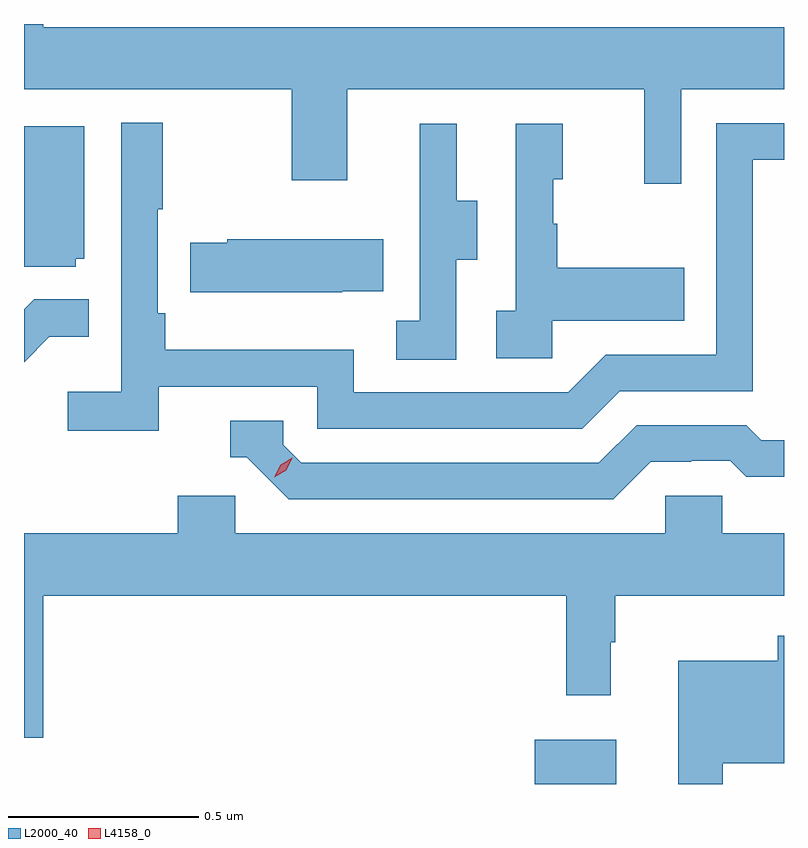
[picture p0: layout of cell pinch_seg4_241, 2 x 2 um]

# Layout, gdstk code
import gdstk
lib = gdstk.Library(unit=1e-6, precision=1e-09)
def R(c, l, rs):  # rectangles x0, y0, x1, y1
    for r in rs: c.add(gdstk.rectangle(r[:2], r[2:], *l))
def P(c, l, *ps):  # polygons
    for p in ps: c.add(gdstk.Polygon(p, *l))
L2000_40 = (2000, 40)
L4158_0 = (4158, 0)

pinch_seg4_241 = lib.new_cell('pinch_seg4_241')
R(pinch_seg4_241, L2000_40, [(921.71,817.636,921.925,817.753)])
P(pinch_seg4_241, L2000_40, [(922.095,819.464),(922.366,819.464),(922.366,819.628),(920.416,819.628),(920.416,819.636),(920.366,819.636),(920.366,819.464),(921.07,819.464),(921.07,819.225),(921.217,819.225),(921.217,819.464),(921.998,819.464),(921.998,819.216),(922.095,819.216)],
  [(920.72,818.682),(921.138,818.682),(921.138,818.571),(921.835,818.571),(921.934,818.67),(922.284,818.67),(922.284,819.279),(922.366,819.279),(922.366,819.375),(922.188,819.375),(922.188,818.766),(921.897,818.766),(921.798,818.667),(921.234,818.667),(921.234,818.779),(920.738,818.779),(920.738,818.875),(920.718,818.875),(920.718,819.148),(920.731,819.148),(920.731,819.376),(920.622,819.376),(920.622,818.668),(920.481,818.668),(920.481,818.566),(920.72,818.566)],
  [(921.504,819.016),(921.559,819.016),(921.559,819.171),(921.505,819.171),(921.505,819.373),(921.407,819.373),(921.407,819.159),(921.408,819.159),(921.408,818.855),(921.345,818.855),(921.345,818.752),(921.504,818.752)],
  [(921.756,818.855),(922.103,818.855),(922.103,818.995),(921.769,818.995),(921.769,819.11),(921.759,819.11),(921.759,819.228),(921.784,819.228),(921.784,819.373),(921.66,819.373),(921.66,818.882),(921.609,818.882),(921.609,818.757),(921.756,818.757)],
  [(920.502,819.018),(920.524,819.018),(920.524,819.367),(920.366,819.367),(920.366,818.997),(920.502,818.997)],
  [(921.203,818.933),(921.311,818.933),(921.311,819.07),(920.901,819.07),(920.901,819.06),(920.803,819.06),(920.803,818.93),(921.203,818.93)],
  [(920.433,818.813),(920.537,818.813),(920.537,818.912),(920.393,818.912),(920.366,818.885),(920.366,818.746)],
  [(922.015,818.484),(922.122,818.484),(922.122,818.487),(922.225,818.487),(922.267,818.445),(922.366,818.445),(922.366,818.541),(922.306,818.541),(922.267,818.58),(921.978,818.58),(921.879,818.481),(921.096,818.481),(921.048,818.529),(921.048,818.592),(920.909,818.592),(920.909,818.496),(920.952,818.496),(921.063,818.385),(921.916,818.385)],
  [(920.416,818.132),(921.793,818.132),(921.793,817.869),(921.91,817.869),(921.91,818.009),(921.922,818.009),(921.922,818.132),(922.366,818.132),(922.366,818.296),(922.203,818.296),(922.203,818.394),(922.053,818.394),(922.053,818.296),(920.922,818.296),(920.922,818.394),(920.771,818.394),(920.771,818.296),(920.366,818.296),(920.366,817.758),(920.416,817.758)],
  [(922.205,817.691),(922.366,817.691),(922.366,818.026),(922.35,818.026),(922.35,817.96),(922.088,817.96),(922.088,817.636),(922.205,817.636)])
P(pinch_seg4_241, L4158_0, [(921.025,818.443),(921.025,818.443),(921.041,818.476),(921.072,818.495),(921.072,818.495),(921.072,818.495),(921.056,818.462),(921.025,818.443)])

lib.write_gds('pinch_seg4_241.gds')
